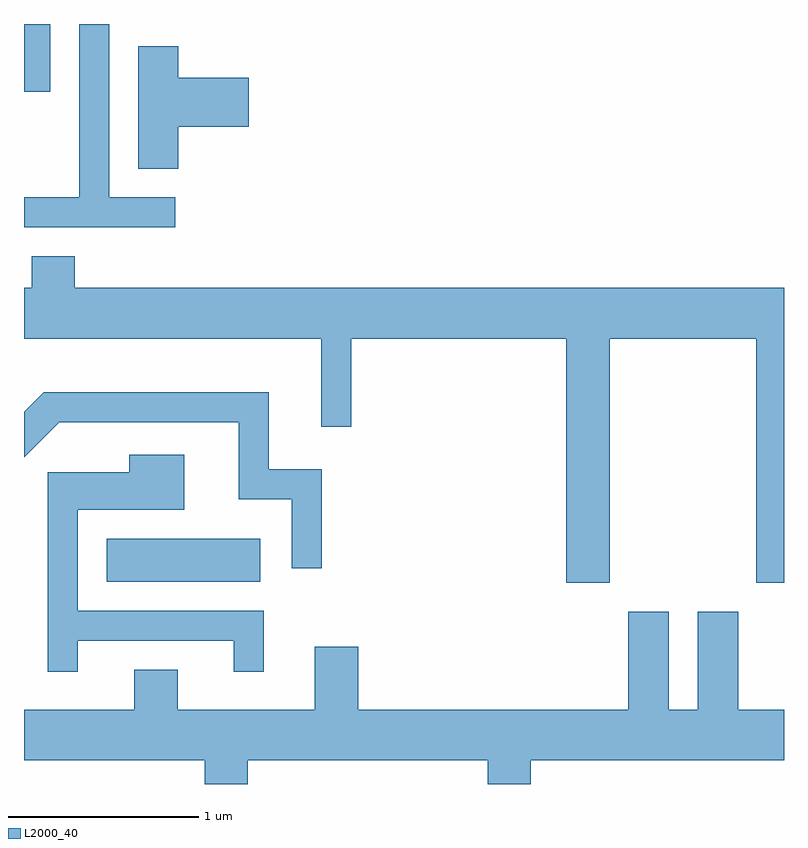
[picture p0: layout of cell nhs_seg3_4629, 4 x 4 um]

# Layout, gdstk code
import gdstk
lib = gdstk.Library(unit=1e-6, precision=1e-09)
def R(c, l, rs):  # rectangles x0, y0, x1, y1
    for r in rs: c.add(gdstk.rectangle(r[:2], r[2:], *l))
def P(c, l, *ps):  # polygons
    for p in ps: c.add(gdstk.Polygon(p, *l))
L2000_40 = (2000, 40)

nhs_seg3_4629 = lib.new_cell('nhs_seg3_4629')
R(nhs_seg3_4629, L2000_40, [(322.046,1126.956,322.854,1127.184), (321.611,1129.536,321.749,1129.892)])
P(nhs_seg3_4629, L2000_40, [(322.408,1128.979),(322.059,1128.979),(322.059,1129.892),(321.901,1129.892),(321.901,1128.979),(321.611,1128.979),(321.611,1128.821),(322.408,1128.821)],
  [(322.424,1129.351),(322.794,1129.351),(322.794,1129.609),(322.424,1129.609),(322.424,1129.774),(322.211,1129.774),(322.211,1129.131),(322.424,1129.131)],
  [(321.651,1128.669),(321.651,1128.504),(321.611,1128.504),(321.611,1128.236),(323.176,1128.236),(323.176,1127.773),(323.334,1127.773),(323.334,1128.236),(324.466,1128.236),(324.466,1126.951),(324.694,1126.951),(324.694,1128.236),(325.466,1128.236),(325.466,1126.951),(325.611,1126.951),(325.611,1128.504),(321.879,1128.504),(321.879,1128.669)],
  [(323.179,1127.549),(322.899,1127.549),(322.899,1127.954),(321.714,1127.954),(321.611,1127.851),(321.611,1127.611),(321.797,1127.796),(322.741,1127.796),(322.741,1127.391),(323.021,1127.391),(323.021,1127.028),(323.179,1127.028)],
  [(321.894,1126.646),(322.716,1126.646),(322.716,1126.483),(322.874,1126.483),(322.874,1126.804),(321.894,1126.804),(321.894,1127.336),(322.454,1127.336),(322.454,1127.624),(322.166,1127.624),(322.166,1127.534),(321.736,1127.534),(321.736,1126.483),(321.894,1126.483)],
  [(322.789,1126.016),(324.051,1126.016),(324.051,1125.892),(324.279,1125.892),(324.279,1126.016),(325.611,1126.016),(325.611,1126.284),(325.369,1126.284),(325.369,1126.799),(325.156,1126.799),(325.156,1126.284),(325.004,1126.284),(325.004,1126.799),(324.791,1126.799),(324.791,1126.284),(323.369,1126.284),(323.369,1126.614),(323.141,1126.614),(323.141,1126.284),(322.419,1126.284),(322.419,1126.494),(322.191,1126.494),(322.191,1126.284),(321.611,1126.284),(321.611,1126.016),(322.561,1126.016),(322.561,1125.892),(322.789,1125.892)])

lib.write_gds('nhs_seg3_4629.gds')
